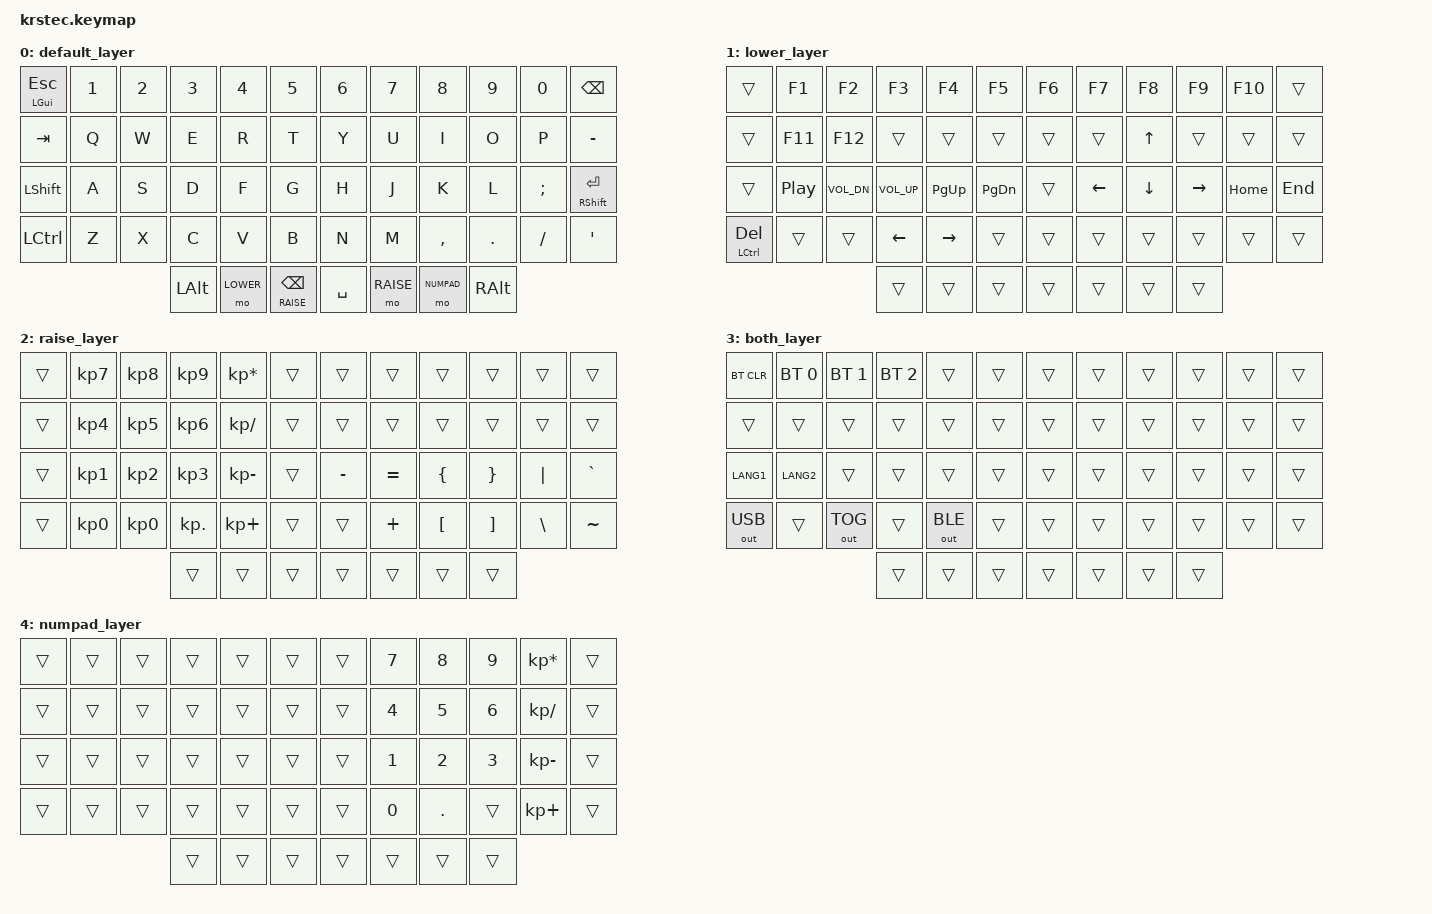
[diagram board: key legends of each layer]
#include <behaviors.dtsi>
#include <dt-bindings/zmk/keys.h>
#include <dt-bindings/zmk/bt.h>
#include <dt-bindings/zmk/outputs.h>

#define DEFAULT  0
#define LOWER    1
#define RAISE    2
#define BOTH     3
#define NUMPAD   4

/ {
    conditional_layers {
        compatible = "zmk,conditional-layers";
        tri_layer {
            if-layers = <1 2>;
            then-layer = <3>;
        };
    };
};

/ {
    keymap {
        compatible = "zmk,keymap";

        default_layer {
            bindings = <
    &mt LGUI ESC  &kp N1 &kp N2 &kp N3   &kp N4    &kp N5             &kp N6    &kp N7      &kp N8    &kp N9  &kp N0   &kp BSPC
    &kp TAB       &kp Q  &kp W  &kp E    &kp R     &kp T              &kp Y     &kp U       &kp I     &kp O   &kp P    &kp MINUS
    &kp LSHIFT    &kp A  &kp S  &kp D    &kp F     &kp G              &kp H     &kp J       &kp K     &kp L   &kp SEMI &mt RSHIFT ENTER
    &kp LCTRL     &kp Z  &kp X  &kp C    &kp V     &kp B              &kp N     &kp M       &kp COMMA &kp DOT &kp FSLH &kp SQT
                                 &kp LALT &mo LOWER &lt RAISE BSPC &kp SPACE &mo RAISE &mo NUMPAD &kp RALT  
            >;
        };

        lower_layer {
            bindings = <
    &trans &kp F1   &kp F2       &kp F3       &kp F4    &kp F5        &kp F6 &kp F7   &kp F8   &kp F9    &kp F10  &trans   
    &trans &kp F11  &kp F12      &trans       &trans    &trans        &trans &trans   &kp UP   &trans    &trans   &trans
    &trans &kp C_PP &kp C_VOL_DN &kp C_VOL_UP &kp PG_UP &kp PG_DN     &trans &kp LEFT &kp DOWN &kp RIGHT &kp HOME &kp END
    &mt LCTRL DEL &trans &trans  &kp LEFT     &kp RIGHT &trans        &trans &trans   &trans   &trans    &trans   &trans
                                 &trans       &trans    &trans &trans &trans &trans   &trans
            >;
        };

        raise_layer {
            bindings = <
    &trans &kp KP_N7 &kp KP_N8  &kp KP_N9 &kp KP_ASTERISK &trans        &trans    &trans    &trans            &trans           &trans    &trans
    &trans &kp KP_N4 &kp KP_N5  &kp KP_N6 &kp KP_SLASH    &trans        &trans    &trans    &trans            &trans           &trans    &trans
    &trans &kp KP_N1 &kp KP_N2  &kp KP_N3 &kp KP_MINUS    &trans        &kp MINUS &kp EQUAL &kp LEFT_BRACE    &kp RIGHT_BRACE  &kp PIPE  &kp GRAVE
    &trans &kp KP_N0 &kp KP_N0  &kp KP_DOT &kp KP_PLUS    &trans        &trans    &kp PLUS  &kp LEFT_BRACKET  &kp RIGHT_BRACKET &kp BSLH &kp TILDE 
                                            &trans &trans &trans &trans &trans    &trans    &trans
            >;
        };

        both_layer {
            bindings = <
    &bt BT_CLR   &bt BT_SEL 0 &bt BT_SEL 1 &bt BT_SEL 2 &trans       &trans        &trans &trans &trans &trans &trans &trans
    &trans       &trans       &trans       &trans       &trans       &trans        &trans &trans &trans &trans &trans &trans
    &kp LANG1    &kp LANG2    &trans       &trans       &trans       &trans        &trans &trans &trans &trans &trans &trans
    &out OUT_USB &trans       &out OUT_TOG &trans       &out OUT_BLE &trans        &trans &trans &trans &trans &trans &trans
                                           &trans       &trans       &trans &trans &trans &trans &trans
            >;
        };
        
        numpad_layer {
            bindings = <
    &trans &trans &trans &trans &trans &trans        &trans &kp N7 &kp N8  &kp N9 &kp KP_ASTERISK &trans
    &trans &trans &trans &trans &trans &trans        &trans &kp N4 &kp N5  &kp N6 &kp KP_SLASH    &trans
    &trans &trans &trans &trans &trans &trans        &trans &kp N1 &kp N2  &kp N3 &kp KP_MINUS    &trans
    &trans &trans &trans &trans &trans &trans        &trans &kp N0 &kp DOT &trans &kp KP_PLUS     &trans
                         &trans &trans &trans &trans &trans &trans &trans
            >;
        };
    };
};
